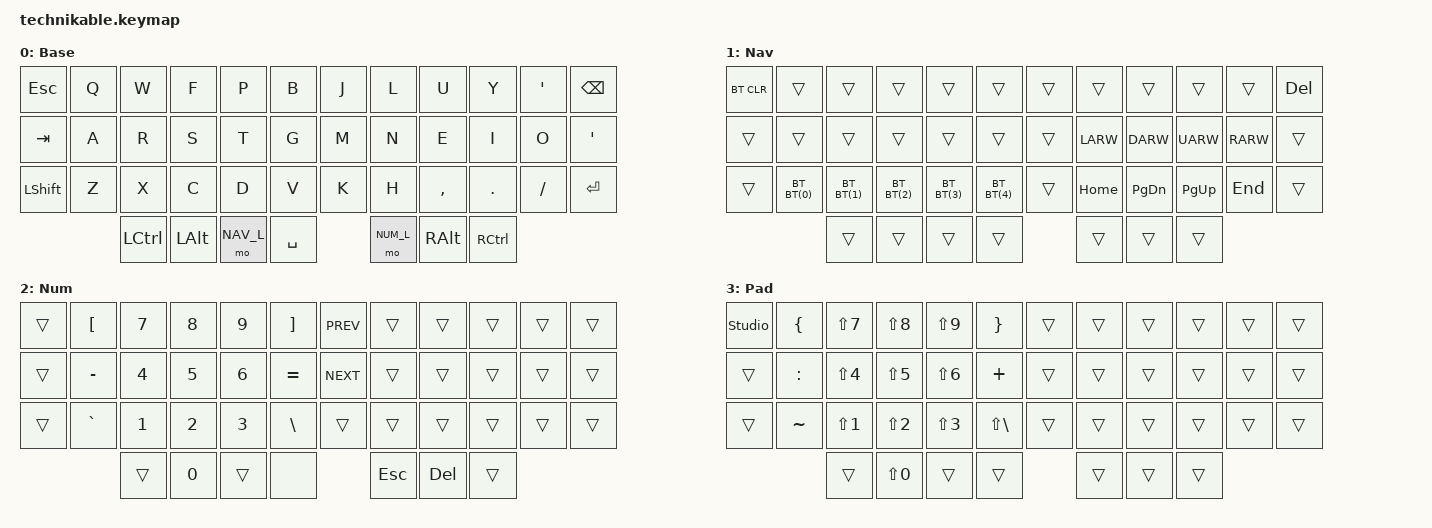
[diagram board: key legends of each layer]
/*
 * Copyright (c) 2022 Pete Johanson
 *
 * SPDX-License-Identifier: MIT
 *
 * Updated by The Recursive Buddah, 2025
 *
 */


#include <behaviors.dtsi>
#include <dt-bindings/zmk/bt.h>
#include <dt-bindings/zmk/keys.h>
#include <dt-bindings/zmk/outputs.h>
#include <dt-bindings/zmk/pointing.h>

#define BAS_L 0
#define NAV_L 1
#define NUM_L 2
#define PAD_L 3

#define BT(n) BT_SEL n


// Using layer taps on thumbs, having quick tap as well helps w/ repeating space/backspace
&lt { quick_tap_ms = <200>; };

/ {
    chosen {
        zmk,physical-layout = &technikable_mit_layout;
    };

    conditional_layers {
        compatible = "zmk,conditional-layers";
		tri_layer {
	    	if-layers = <NAV_L NUM_L>;
	    	then-layer = <PAD_L>;
		};
    };

    keymap {
        compatible = "zmk,keymap";

        base_layer {
            label = "Base";
            bindings = <
&kp ESC    &kp Q      &kp W      &kp F       &kp P          &kp B          &kp J            &kp L          &kp U       &kp Y      &kp QUOT     &kp BKSP
&kp TAB    &kp A      &kp R      &kp S       &kp T          &kp G          &kp M            &kp N          &kp E       &kp I      &kp O        &kp QUOT
&kp LSHFT  &kp Z      &kp X      &kp C       &kp D          &kp V          &kp K            &kp H          &kp COMMA   &kp DOT    &kp FSLH     &kp RET
                       &kp LCTRL  &kp LALT    &mo NAV_L          &kp SPACE                   &mo NUM_L      &kp RALT    &kp RCTRL
            >;
        };

        nav_layer {
            label = "Nav";
            bindings = <
&bt BT_CLR &trans     &trans     &trans      &trans          &trans       &trans     &trans         &trans      &trans     &trans     &kp DEL
&trans     &trans     &trans     &trans      &trans          &trans       &trans     &kp LARW       &kp DARW    &kp UARW   &kp RARW   &trans
&trans     &bt BT(0)  &bt BT(1)  &bt BT(2)   &bt BT(3)       &bt BT(4)    &trans     &kp HOME       &kp PG_DN   &kp PG_UP  &kp END    &trans
                      &trans     &trans      &trans                &trans            &trans         &trans      &trans
            >;
        };

        num_layer {
            label = "Num";
            bindings = <
&trans     &kp LBKT   &kp N7     &kp N8      &kp N9    &kp RBKT    &kp C_PREV    &trans         &trans       &trans       &trans     &trans
&trans     &kp MINUS  &kp N4     &kp N5      &kp N6    &kp EQUAL   &kp C_NEXT    &trans         &trans       &trans       &trans     &trans
&trans     &kp GRAVE  &kp N1     &kp N2      &kp N3    &kp BSLH    &trans        &trans         &trans       &trans       &trans     &trans
                      &trans     &kp N0      &trans           &none              &kp ESC        &kp DEL      &trans
            >;
        };

        pad_layer {
            label = "Pad";
            bindings = <
&studio_unlock &kp LBRC   &kp LS(N7) &kp LS(N8)  &kp LS(N9)   &kp RBRC     &trans     &trans    &trans       &trans       &trans     &trans
&trans         &kp COLON  &kp LS(N4) &kp LS(N5)  &kp LS(N6)   &kp PLUS     &trans     &trans    &trans       &trans       &trans     &trans
&trans         &kp TILDE  &kp LS(N1) &kp LS(N2)  &kp LS(N3)   &kp LS(BSLH) &trans     &trans    &trans       &trans       &trans     &trans
                          &trans     &kp LS(N0)  &trans               &trans          &trans    &trans       &trans
            >;
        };

    };
};
